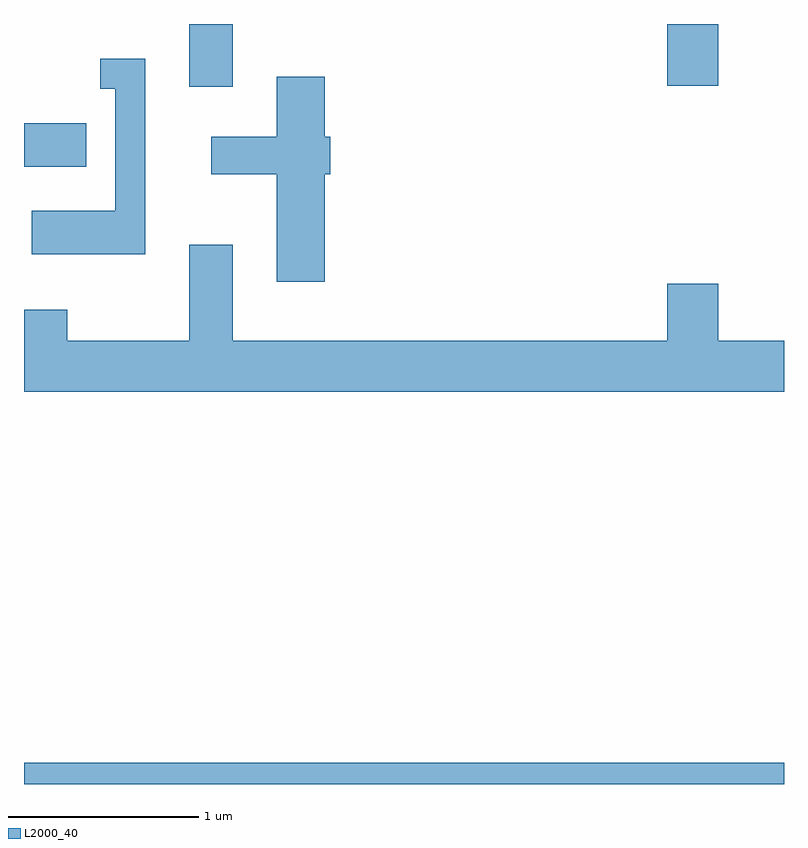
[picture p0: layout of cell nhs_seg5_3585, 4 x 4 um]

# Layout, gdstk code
import gdstk
lib = gdstk.Library(unit=1e-6, precision=1e-09)
def R(c, l, rs):  # rectangles x0, y0, x1, y1
    for r in rs: c.add(gdstk.rectangle(r[:2], r[2:], *l))
def P(c, l, *ps):  # polygons
    for p in ps: c.add(gdstk.Polygon(p, *l))
L2000_40 = (2000, 40)

nhs_seg5_3585 = lib.new_cell('nhs_seg5_3585')
R(nhs_seg5_3585, L2000_40, [(291.611,1448.072,295.611,1448.184), (291.611,1451.321,291.939,1451.549), (292.481,1451.741,292.709,1452.072), (294.996,1451.746,295.264,1452.072)])
P(nhs_seg5_3585, L2000_40, [(292.249,1451.889),(292.013,1451.889),(292.013,1451.731),(292.091,1451.731),(292.091,1451.089),(291.651,1451.089),(291.651,1450.861),(292.249,1450.861)],
  [(293.194,1451.281),(293.224,1451.281),(293.224,1451.479),(293.194,1451.479),(293.194,1451.794),(292.941,1451.794),(292.941,1451.479),(292.596,1451.479),(292.596,1451.281),(292.941,1451.281),(292.941,1450.716),(293.194,1450.716)],
  [(295.611,1450.404),(295.264,1450.404),(295.264,1450.704),(294.996,1450.704),(294.996,1450.404),(292.709,1450.404),(292.709,1450.909),(292.481,1450.909),(292.481,1450.404),(291.839,1450.404),(291.839,1450.569),(291.611,1450.569),(291.611,1450.136),(295.611,1450.136)])

lib.write_gds('nhs_seg5_3585.gds')
